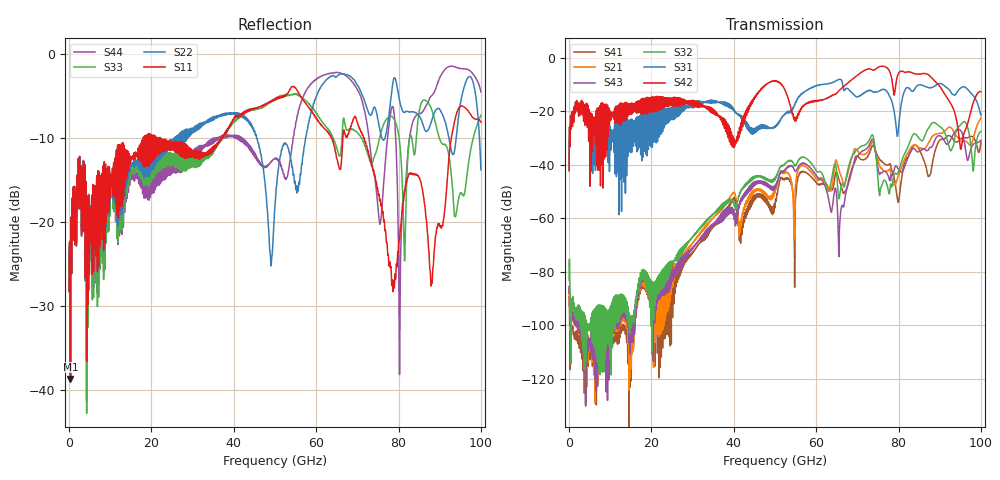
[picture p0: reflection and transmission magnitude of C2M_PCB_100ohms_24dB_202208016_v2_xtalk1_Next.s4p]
! Info: Touchstone file created by Circ.  Input file=Intel_C2M_200G_9p5in_202208016_staggered.circ
# Hz S RI R 50
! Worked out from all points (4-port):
!   10000 points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, 10 MHz to 100 GHz, reference 50 ohm
!   strongest paths, dB at 10 MHz, 25.01 GHz, 50.01 GHz, 75.01 GHz, 100 GHz:
!     S42: -42.1, -14.9, -8.5, -3.4, -12.6
!     S31: -42.2, -18.3, -26.0, -12.6, -21.4
!     S32: -83.2, -76.1, -45.6, -44.8, -27.5
!     S43: -87.5, -79.2, -49.0, -41.3, -30.8
!     S21: -87.8, -77.1, -49.9, -38.4, -22.5
!     S41: -89.5, -78.5, -55.8, -36.9, -31.5
!   lowest |S11| = -38.7 dB at 330 MHz (marker M1), VSWR 1.02, Z = 49.1 + j0.721 ohm
!   |S11| at or under -10 dB: start of sweep to 18.02 GHz; 22.09 GHz to 37.07 GHz (14.98 GHz wide, 50.6 % of centre); 71.63 GHz to 92.82 GHz (21.19 GHz wide, 25.8 % of centre)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
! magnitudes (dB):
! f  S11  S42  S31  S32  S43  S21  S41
! 10 MHz  -28.3  -42.1  -42.2  -83.2  -87.5  -87.8  -89.5
! 330 MHz  -38.7  -22.5  -22.6  -91.0  -97.0  -96.9  -100.9
! 65.67 GHz  -13.7  -12.0  -8.0  -51.7  -63.4  -42.6  -46.1
! 73.47 GHz  -13.4  -4.3  -12.3  -28.9  -30.7  -31.8  -33.3
! 76.04 GHz  -18.8  -3.1  -11.8  -47.4  -42.9  -41.6  -38.8
! 95.19 GHz  -6.2  -34.0  -11.1  -24.8  -27.3  -30.8  -30.1
! 100 GHz  -8.1  -12.6  -21.4  -27.5  -30.8  -22.5  -31.5
